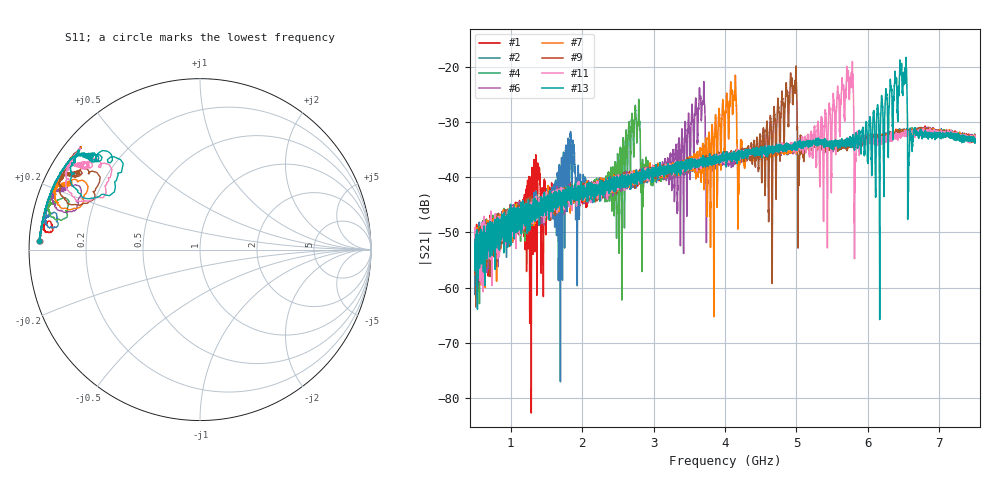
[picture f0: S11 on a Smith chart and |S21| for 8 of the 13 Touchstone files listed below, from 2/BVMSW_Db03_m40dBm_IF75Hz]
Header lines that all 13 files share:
!Keysight Technologies,M9374A,MY55442783,A.12.55.05
!Correction: S11(Full 2 Port(1,2))
!S21(Full 2 Port(1,2))
!S12(Full 2 Port(1,2))
!S22(Full 2 Port(1,2))
!S2P File: Measurements: S11, S21, S12, S22:
# Hz S  RI  R 50
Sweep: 500 MHz to 7.5 GHz
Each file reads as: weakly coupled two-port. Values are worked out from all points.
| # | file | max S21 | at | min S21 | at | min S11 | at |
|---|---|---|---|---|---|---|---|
| 1 | BVMSW_Db03_i0.0.s2p | -30.71 dB | 6.803 GHz | -82.7 dB | 1.288 GHz | -1.3 dB | 1.451 GHz |
| 2 | BVMSW_Db03_i0.5.s2p | -31.03 dB | 6.84 GHz | -77.1 dB | 1.696 GHz | -1.5 dB | 1.929 GHz |
| 3 | BVMSW_Db03_i1.0.s2p | -29.06 dB | 2.334 GHz | -63.9 dB | 2.127 GHz | -1.7 dB | 2.382 GHz |
| 4 | BVMSW_Db03_i1.5.s2p | -25.86 dB | 2.792 GHz | -62.9 dB | 562 MHz | -1.9 dB | 2.831 GHz |
| 5 | BVMSW_Db03_i2.0.s2p | -24.29 dB | 3.249 GHz | -63.3 dB | 2.987 GHz | -2.2 dB | 3.286 GHz |
| 6 | BVMSW_Db03_i2.5.s2p | -22.65 dB | 3.703 GHz | -61.0 dB | 517 MHz | -2.4 dB | 3.73 GHz |
| 7 | BVMSW_Db03_i3.0.s2p | -21.51 dB | 4.145 GHz | -65.3 dB | 3.843 GHz | -2.7 dB | 4.171 GHz |
| 8 | BVMSW_Db03_i3.5.s2p | -20.41 dB | 4.575 GHz | -63.8 dB | 579 MHz | -3.0 dB | 4.6 GHz |
| 9 | BVMSW_Db03_i4.0.s2p | -19.83 dB | 4.992 GHz | -63.5 dB | 511 MHz | -3.3 dB | 5.016 GHz |
| 10 | BVMSW_Db03_i4.5.s2p | -19.27 dB | 5.394 GHz | -60.3 dB | 579 MHz | -3.6 dB | 5.418 GHz |
| 11 | BVMSW_Db03_i5.0.s2p | -19.02 dB | 5.783 GHz | -60.8 dB | 615 MHz | -3.9 dB | 5.807 GHz |
| 12 | BVMSW_Db03_i5.5.s2p | -18.50 dB | 6.165 GHz | -60.4 dB | 573 MHz | -4.2 dB | 6.188 GHz |
| 13 | BVMSW_Db03_i6.0.s2p | -18.25 dB | 6.534 GHz | -65.8 dB | 6.166 GHz | -4.4 dB | 6.556 GHz |
